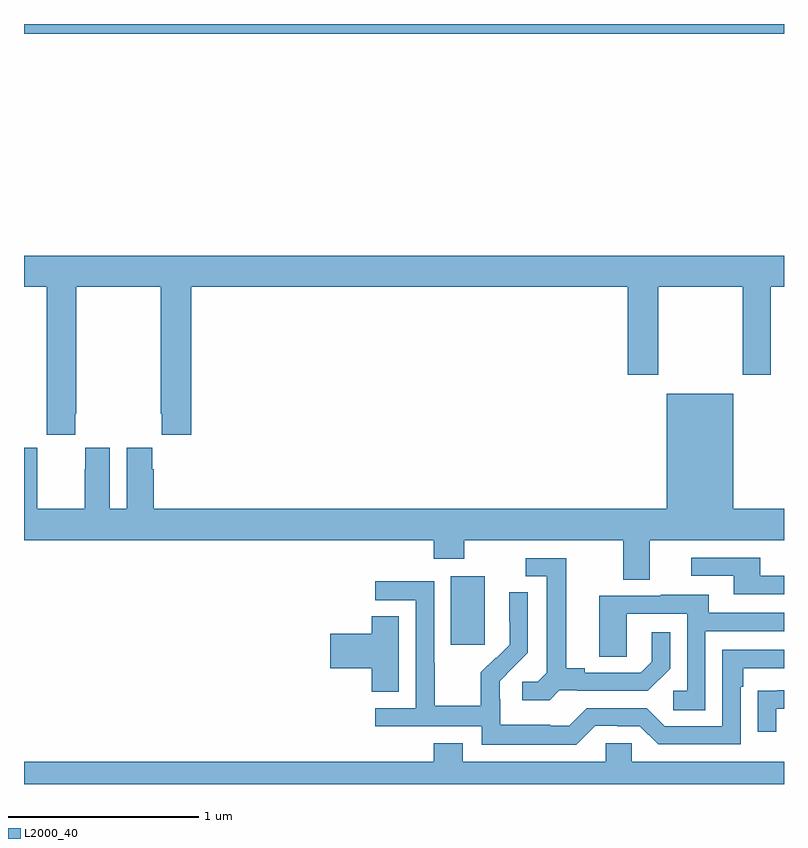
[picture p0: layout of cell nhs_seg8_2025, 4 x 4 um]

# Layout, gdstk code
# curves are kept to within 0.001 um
import gdstk
lib = gdstk.Library(unit=1e-6, precision=1e-09)
def R(c, l, rs):  # rectangles x0, y0, x1, y1
    for r in rs: c.add(gdstk.rectangle(r[:2], r[2:], *l))
def P(c, l, *ps):  # polygons
    for p in ps: c.add(gdstk.Polygon(p, *l))
L2000_40 = (2000, 40)

nhs_seg8_2025 = lib.new_cell('nhs_seg8_2025')
R(nhs_seg8_2025, L2000_40, [(241.247,1098.633,241.426,1098.994), (239,1101.848,243,1101.9)])
P(nhs_seg8_2025, L2000_40, [(239,1100.516),(239.119,1100.516),(239.119,1099.849),(239.121,1099.849),(239.121,1099.737),(239.271,1099.737),(239.271,1099.849),(239.274,1099.849),(239.274,1100.516),(239.719,1100.516),(239.719,1099.849),(239.725,1099.849),(239.725,1099.737),(239.879,1099.737),(239.879,1100.516),(242.177,1100.516),(242.177,1100.055),(242.337,1100.055),(242.337,1100.516),(242.782,1100.516),(242.782,1100.055),(242.929,1100.055),(242.929,1100.516),(243,1100.516),(243,1100.68),(239,1100.68)],
  [(242.293,1099.184),(243,1099.184),(243,1099.348),(242.734,1099.348),(242.734,1099.954),(242.384,1099.954),(242.384,1099.348),(239.684,1099.348),(239.684,1099.556),(239.674,1099.556),(239.674,1099.669),(239.54,1099.669),(239.54,1099.348),(239.452,1099.348),(239.452,1099.669),(239.322,1099.669),(239.322,1099.556),(239.321,1099.556),(239.321,1099.348),(239.071,1099.348),(239.071,1099.556),(239.07,1099.556),(239.07,1099.669),(239,1099.669),(239,1099.184),(241.157,1099.184),(241.157,1099.085),(241.317,1099.085),(241.317,1099.184),(242.153,1099.184),(242.153,1098.976),(242.293,1098.976)],
  [(243,1098.996),(242.875,1098.996),(242.875,1099.092),(242.511,1099.092),(242.511,1098.996),(242.735,1098.996),(242.735,1098.9),(243,1098.9)],
  [(241.818,1098.393),(241.912,1098.393),(241.912,1098.39),(242.284,1098.39),(242.4,1098.506),(242.4,1098.7),(242.303,1098.7),(242.303,1098.543),(242.246,1098.486),(241.951,1098.486),(241.951,1098.509),(241.855,1098.509),(241.855,1099.089),(241.641,1099.089),(241.641,1098.993),(241.751,1098.993),(241.751,1098.485),(241.704,1098.438),(241.623,1098.438),(241.623,1098.341),(241.766,1098.341)],
  [(242.007,1098.207),(242.123,1098.207),(242.123,1098.204),(242.241,1098.204),(242.337,1098.108),(242.772,1098.108),(242.772,1098.413),(242.785,1098.413),(242.785,1098.51),(243,1098.51),(243,1098.606),(242.676,1098.606),(242.676,1098.204),(242.373,1098.204),(242.277,1098.3),(241.962,1098.3),(241.869,1098.207),(241.769,1098.207),(241.769,1098.211),(241.506,1098.211),(241.506,1098.345),(241.504,1098.345),(241.504,1098.442),(241.65,1098.59),(241.65,1098.908),(241.554,1098.908),(241.554,1098.754),(241.556,1098.754),(241.556,1098.632),(241.485,1098.561),(241.482,1098.564),(241.405,1098.487),(241.405,1098.313),(241.161,1098.313),(241.161,1098.536),(241.158,1098.536),(241.158,1098.966),(240.849,1098.966),(240.849,1098.867),(241.062,1098.867),(241.062,1098.3),(240.849,1098.3),(240.849,1098.204),(241.41,1098.204),(241.41,1098.107),(241.907,1098.107)],
  [(242.586,1098.705),(243,1098.705),(243,1098.801),(242.605,1098.801),(242.605,1098.895),(242.351,1098.895),(242.351,1098.891),(242.027,1098.891),(242.027,1098.571),(242.172,1098.571),(242.172,1098.795),(242.49,1098.795),(242.49,1098.39),(242.418,1098.39),(242.418,1098.289),(242.586,1098.289)],
  [(240.973,1098.782),(240.83,1098.782),(240.83,1098.692),(240.612,1098.692),(240.612,1098.509),(240.83,1098.509),(240.83,1098.385),(240.973,1098.385)],
  [(242.959,1098.297),(243,1098.297),(243,1098.393),(242.965,1098.393),(242.965,1098.392),(242.863,1098.392),(242.863,1098.174),(242.959,1098.174)],
  [(243,1098.016),(242.199,1098.016),(242.199,1098.114),(242.061,1098.114),(242.061,1098.016),(241.309,1098.016),(241.309,1098.115),(241.157,1098.115),(241.157,1098.016),(239,1098.016),(239,1097.9),(243,1097.9)])

lib.write_gds('nhs_seg8_2025.gds')
